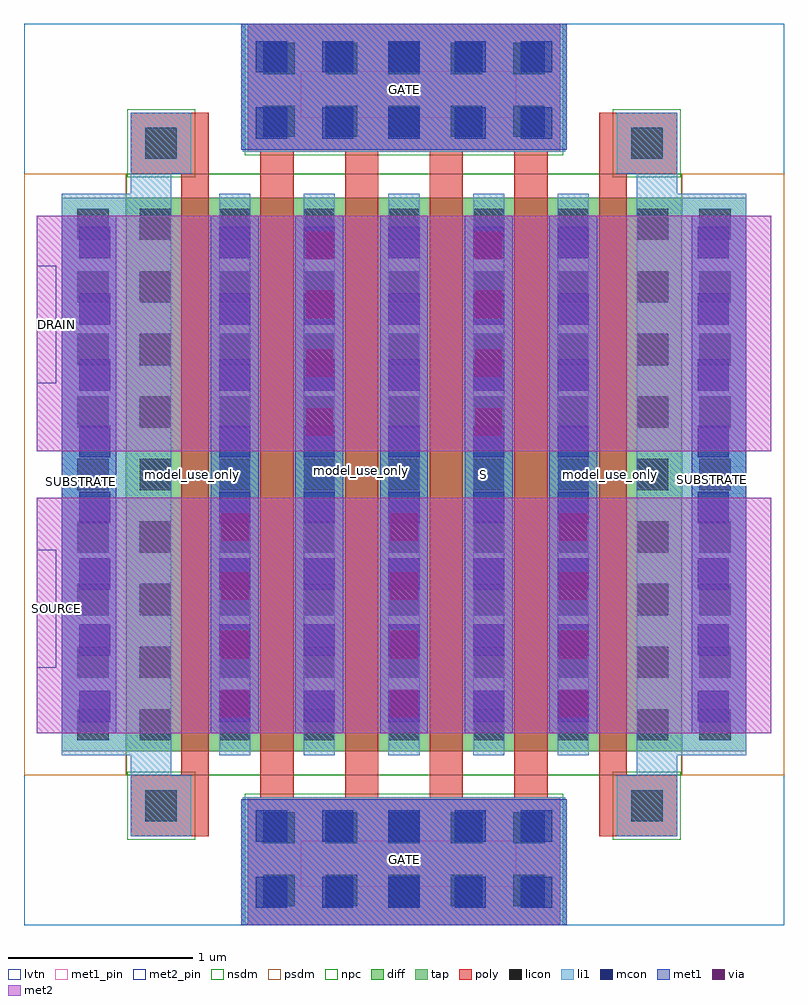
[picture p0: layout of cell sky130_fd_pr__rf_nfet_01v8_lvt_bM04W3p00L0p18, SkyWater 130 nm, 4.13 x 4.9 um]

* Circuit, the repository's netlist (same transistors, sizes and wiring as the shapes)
* Copyright 2020 The SkyWater PDK Authors
*
* Licensed under the Apache License, Version 2.0 (the "License");
* you may not use this file except in compliance with the License.
* You may obtain a copy of the License at
*
*     https://www.apache.org/licenses/LICENSE-2.0
*
* Unless required by applicable law or agreed to in writing, software
* distributed under the License is distributed on an "AS IS" BASIS,
* WITHOUT WARRANTIES OR CONDITIONS OF ANY KIND, either express or implied.
* See the License for the specific language governing permissions and
* limitations under the License.
*
* SPDX-License-Identifier: Apache-2.0


.subckt sky130_fd_pr__rf_nfet_01v8_lvt_bM04W3p00L0p18 DRAIN GATE SOURCE SUBSTRATE
X0 SOURCE GATE DRAIN SUBSTRATE sky130_fd_pr__nfet_01v8_lvt w=3.01e+06u l=180000u
X1 SOURCE SUBSTRATE SUBSTRATE SUBSTRATE sky130_fd_pr__nfet_01v8_lvt w=3.01e+06u l=150000u
X2 DRAIN GATE SOURCE SUBSTRATE sky130_fd_pr__nfet_01v8_lvt w=3.01e+06u l=180000u
X3 DRAIN GATE SOURCE SUBSTRATE sky130_fd_pr__nfet_01v8_lvt w=3.01e+06u l=180000u
X4 SUBSTRATE SUBSTRATE SOURCE SUBSTRATE sky130_fd_pr__nfet_01v8_lvt w=3.01e+06u l=150000u
X5 SOURCE GATE DRAIN SUBSTRATE sky130_fd_pr__nfet_01v8_lvt w=3.01e+06u l=180000u
.ends

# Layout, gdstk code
import gdstk
lib = gdstk.Library(unit=1e-6, precision=1e-09)
def R(c, l, rs):  # rectangles x0, y0, x1, y1
    for r in rs: c.add(gdstk.rectangle(r[:2], r[2:], *l))
def A(c, l, x, y, w, h, nx, ny, dx, dy):  # array of equal rectangles
    R(c, l, [(x+i*dx, y+j*dy, x+i*dx+w, y+j*dy+h) for i in range(nx) for j in range(ny)])
diff = (65, 20)
tap = (65, 44)
poly = (66, 20)
licon = (66, 44)
li1 = (67, 20)
mcon = (67, 44)
met1_pin = (68, 16)
met1 = (68, 20)
via = (68, 44)
met2_pin = (69, 16)
met2 = (69, 20)
nsdm = (93, 44)
psdm = (94, 20)
npc = (95, 20)
lvtn = (125, 44)

sky130_fd_pr__rf_nfet_01 = lib.new_cell('sky130_fd_pr__rf_nfet_01v8_lvt_bM04W3p00L0p18')
R(sky130_fd_pr__rf_nfet_01, diff, [(0.555,0.945,3.575,3.955)])
R(sky130_fd_pr__rf_nfet_01, tap, [(0.205,0.945,0.555,3.955), (3.575,0.945,3.925,3.955)])
A(sky130_fd_pr__rf_nfet_01, poly, 1.285, 0.695, 0.18, 3.51, 4, 1, 0.46, 0)
R(sky130_fd_pr__rf_nfet_01, poly, [(1.215,0,2.915,0.695), (0.58,0.485,0.91,0.815), (0.855,0.485,1.005,4.415), (3.125,0.485,3.275,4.415), (3.22,0.485,3.55,0.815), (0.58,4.085,0.91,4.415), (3.22,4.085,3.55,4.415), (1.215,4.205,2.915,4.9)])
A(sky130_fd_pr__rf_nfet_01, licon, 1.3, 0.105, 0.17, 0.17, 5, 2, 0.34, 0.34)
A(sky130_fd_pr__rf_nfet_01, licon, 0.29, 1.005, 0.17, 0.17, 1, 9, 0, 0.34)
A(sky130_fd_pr__rf_nfet_01, licon, 0.63, 1.005, 0.17, 0.17, 1, 9, 0, 0.34)
A(sky130_fd_pr__rf_nfet_01, licon, 1.06, 1.005, 0.17, 0.17, 5, 9, 0.46, 0.34)
A(sky130_fd_pr__rf_nfet_01, licon, 3.33, 1.005, 0.17, 0.17, 1, 9, 0, 0.34)
A(sky130_fd_pr__rf_nfet_01, licon, 3.67, 1.005, 0.17, 0.17, 1, 9, 0, 0.34)
A(sky130_fd_pr__rf_nfet_01, licon, 1.3, 4.285, 0.17, 0.17, 5, 2, 0.34, 0.34)
R(sky130_fd_pr__rf_nfet_01, licon, [(0.66,0.565,0.83,0.735), (3.3,0.565,3.47,0.735), (0.66,4.165,0.83,4.335), (3.3,4.165,3.47,4.335)])
A(sky130_fd_pr__rf_nfet_01, li1, 1.06, 0.925, 0.17, 3.05, 5, 1, 0.46, 0)
A(sky130_fd_pr__rf_nfet_01, li1, 1.06, 1.105, 0.17, 2.69, 5, 1, 0.46, 0)
R(sky130_fd_pr__rf_nfet_01, li1, [(1.19,0,2.94,0.695), (0.58,0.485,0.91,0.815), (3.22,0.485,3.55,0.815), (0.58,0.815,0.8,0.925), (3.33,0.815,3.55,0.925), (0.205,0.925,0.8,3.975), (3.33,0.925,3.925,3.975), (0.58,3.975,0.8,4.085), (3.33,3.975,3.55,4.085), (0.58,4.085,0.91,4.415), (3.22,4.085,3.55,4.415), (1.19,4.205,2.94,4.9)])
A(sky130_fd_pr__rf_nfet_01, mcon, 1.26, 0.095, 0.17, 0.17, 5, 2, 0.36, 0.36)
A(sky130_fd_pr__rf_nfet_01, mcon, 0.3, 1.105, 0.17, 0.17, 1, 8, 0, 0.36)
A(sky130_fd_pr__rf_nfet_01, mcon, 1.06, 1.105, 0.17, 0.17, 5, 8, 0.46, 0.36)
A(sky130_fd_pr__rf_nfet_01, mcon, 3.66, 1.105, 0.17, 0.17, 1, 8, 0, 0.36)
A(sky130_fd_pr__rf_nfet_01, mcon, 1.26, 4.275, 0.17, 0.17, 5, 2, 0.36, 0.36)
R(sky130_fd_pr__rf_nfet_01, met1_pin, [(1.505,0.21,2.675,0.46), (0.205,2.33,0.5,2.48), (3.63,2.345,3.925,2.495), (1.505,4.39,2.675,4.64)])
A(sky130_fd_pr__rf_nfet_01, met1, 1.015, 1.045, 0.26, 2.81, 5, 1, 0.46, 0)
A(sky130_fd_pr__rf_nfet_01, met1, 1.015, 1.045, 0.26, 1.28, 3, 1, 0.92, 0)
R(sky130_fd_pr__rf_nfet_01, met1, [(1.18,0,2.95,0.685), (0.205,1.045,0.5,3.855), (3.63,1.045,3.925,3.855), (1.475,2.575,1.735,3.855), (2.395,2.575,2.655,3.855), (1.18,4.215,2.95,4.9)])
A(sky130_fd_pr__rf_nfet_01, via, 1.07, 1.13, 0.15, 0.15, 3, 4, 0.92, 0.32)
A(sky130_fd_pr__rf_nfet_01, via, 1.53, 2.66, 0.15, 0.15, 1, 4, 0, 0.32)
A(sky130_fd_pr__rf_nfet_01, via, 2.45, 2.66, 0.15, 0.15, 1, 4, 0, 0.32)
R(sky130_fd_pr__rf_nfet_01, met2_pin, [(0.07,1.4,0.175,2.04), (0.07,2.945,0.175,3.585)])
A(sky130_fd_pr__rf_nfet_01, met2, 1.015, 1.045, 0.26, 1.28, 3, 1, 0.92, 0)
R(sky130_fd_pr__rf_nfet_01, met2, [(0.07,1.045,4.06,2.325), (0.07,2.575,4.06,3.855), (1.475,2.575,1.735,3.855), (2.395,2.575,2.655,3.855)])
R(sky130_fd_pr__rf_nfet_01, nsdm, [(0.555,0.815,3.575,4.085)])
R(sky130_fd_pr__rf_nfet_01, psdm, [(0,0.815,0.555,4.085), (3.575,0.815,4.13,4.085)])
R(sky130_fd_pr__rf_nfet_01, npc, [(1.2,0,2.93,0.715), (0.56,0.465,0.93,0.835), (3.2,0.465,3.57,0.835), (0.56,4.065,0.93,4.435), (3.2,4.065,3.57,4.435), (1.2,4.185,2.93,4.9)])
R(sky130_fd_pr__rf_nfet_01, lvtn, [(0,0,4.13,4.9)])
sky130_fd_pr__rf_nfet_01.add(gdstk.Label('GATE', (2.065,0.36), layer=68, texttype=5))
sky130_fd_pr__rf_nfet_01.add(gdstk.Label('GATE', (2.065,4.54), layer=68, texttype=5))
sky130_fd_pr__rf_nfet_01.add(gdstk.Label('model_use_only', (3.185,2.45), layer=66, texttype=83))
sky130_fd_pr__rf_nfet_01.add(gdstk.Label('model_use_only', (0.915,2.45), layer=66, texttype=83))
sky130_fd_pr__rf_nfet_01.add(gdstk.Label('model_use_only', (1.835,2.47), layer=66, texttype=83))
sky130_fd_pr__rf_nfet_01.add(gdstk.Label('model_use_only', (2.26,2.49), layer=66, texttype=83))
sky130_fd_pr__rf_nfet_01.add(gdstk.Label('model_use_only', (2.75,2.505), layer=66, texttype=83))
sky130_fd_pr__rf_nfet_01.add(gdstk.Label('model_use_only', (1.36,2.47), layer=66, texttype=83))
sky130_fd_pr__rf_nfet_01.add(gdstk.Label('SUBSTRATE', (0.315,2.41), layer=68, texttype=16))
sky130_fd_pr__rf_nfet_01.add(gdstk.Label('SUBSTRATE', (3.74,2.425), layer=68, texttype=16))
sky130_fd_pr__rf_nfet_01.add(gdstk.Label('dummy_poly', (3.19,2.49), layer=83, texttype=44))
sky130_fd_pr__rf_nfet_01.add(gdstk.Label('dummy_poly', (0.91,2.52), layer=83, texttype=44))
sky130_fd_pr__rf_nfet_01.add(gdstk.Label('S', (1.205,2.45), layer=83, texttype=44))
sky130_fd_pr__rf_nfet_01.add(gdstk.Label('S', (1.635,2.45), layer=83, texttype=44))
sky130_fd_pr__rf_nfet_01.add(gdstk.Label('S', (2.065,2.45), layer=83, texttype=44))
sky130_fd_pr__rf_nfet_01.add(gdstk.Label('S', (2.495,2.45), layer=83, texttype=44))
sky130_fd_pr__rf_nfet_01.add(gdstk.Label('S', (1.205,2.45), layer=83, texttype=44))
sky130_fd_pr__rf_nfet_01.add(gdstk.Label('D', (1.635,2.45), layer=83, texttype=44))
sky130_fd_pr__rf_nfet_01.add(gdstk.Label('S', (2.065,2.45), layer=83, texttype=44))
sky130_fd_pr__rf_nfet_01.add(gdstk.Label('D', (2.495,2.45), layer=83, texttype=44))
sky130_fd_pr__rf_nfet_01.add(gdstk.Label('S', (2.925,2.45), layer=83, texttype=44))
sky130_fd_pr__rf_nfet_01.add(gdstk.Label('SOURCE', (0.175,1.72), layer=69, texttype=5))
sky130_fd_pr__rf_nfet_01.add(gdstk.Label('DRAIN', (0.175,3.265), layer=69, texttype=5))

lib.write_gds('sky130_fd_pr__rf_nfet_01v8_lvt_bM04W3p00L0p18.gds')
